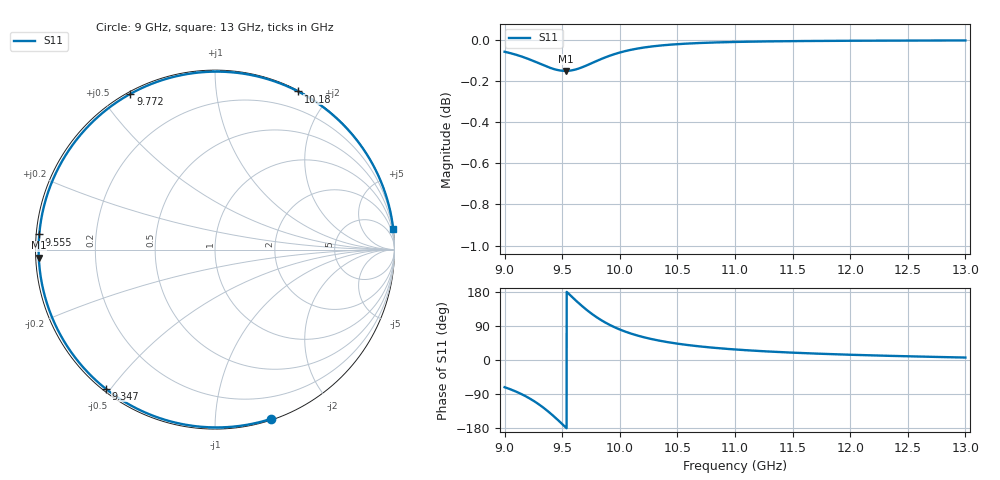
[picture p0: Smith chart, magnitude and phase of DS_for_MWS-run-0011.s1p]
! TOUCHSTONE file generated by CST DESIGN STUDIO
! Date and time: Tue Feb  4 17:28:55 2025
! Project name: C:\Work\MatlabApps\UnitCellOptimizationMatlab\CST\unitcell.cst
! Tree item: Tasks\Sweep1\SPara1\S-Parameters
! Header version: 2024
! Port assignment regex: !\s*Touchstone port\s*([0-9]+)\s*=\s*(CST MWS port|CST DES external port|CST DES block port)\s*(.+)\s* \(\"(.*)\"\)(\s*mode\s*([0-9]+))?.*
! Touchstone port assignment:
! Touchstone port 1 = CST DES external port 1 ("")
# GHz S MA R 50
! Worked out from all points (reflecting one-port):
!   4001 points, 9 GHz to 13 GHz, reference 50 ohm
!   lowest |S11| = -0.2 dB at 9.529 GHz (marker M1), VSWR 115.18, Z = 0.434 - j1.15 ohm
!   phase of S11 starts at -72 deg and turns -282 deg over the sweep
!   S11 on the Smith chart (normalised r, x): 9 GHz: 0.01, -1.38; 9.347 GHz: 0.01, -0.49; 9.555 GHz: 0.01, +0.04; 9.772 GHz: 0.01, +0.59; 10.18 GHz: 0.01, +1.65; 13 GHz: 0, +18
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9  0.9934 -71.8
9.097  0.9918 -83.1
9.204  0.9894 -99.1
9.279  0.9875 -113.2
9.347  0.9857 -128.2
9.419  0.984 -146.3
9.461  0.9833 -157.9
9.5  0.9829 -169.0
9.529  0.9828 -177.4
9.555  0.9829 175.1
9.609  0.9835 159.6
9.67  0.9847 143.0
9.721  0.9861 130.1
9.772  0.9875 118.5
9.82  0.9889 108.7
9.873  0.9902 99.0
9.932  0.9916 89.7
10  0.993 80.5
10.086  0.9943 70.8
10.18  0.9955 62.3
10.326  0.9967 52.1
10.5  0.9976 43.1
10.721  0.9983 35.0
11  0.9988 27.8
11.5  0.9993 19.4
12  0.9995 13.9
12.5  0.9996 9.8
13  0.9997 6.5
